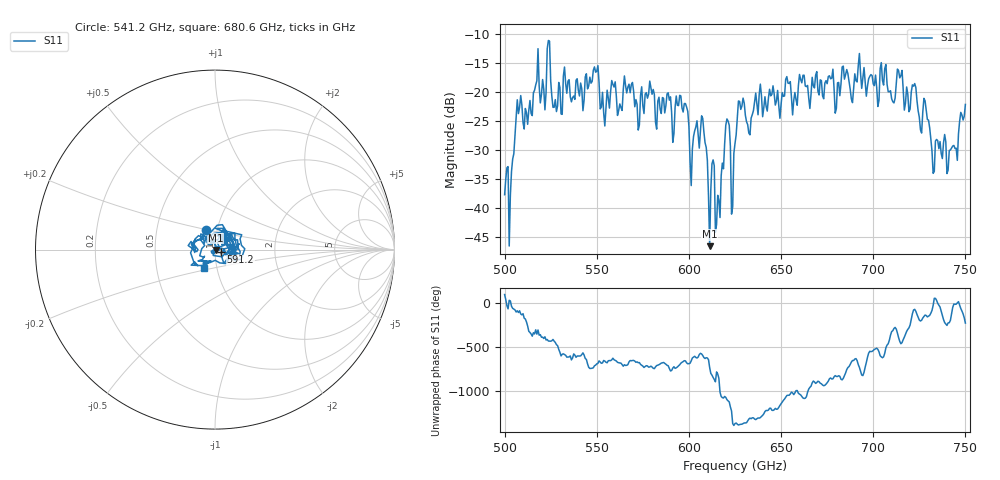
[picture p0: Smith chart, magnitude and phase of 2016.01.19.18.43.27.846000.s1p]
!Created with skrf (http://scikit-rf.org).
# GHz S RI R 50.0
!freq ReS11 ImS11
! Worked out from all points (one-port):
!   401 points, 500 GHz to 750 GHz, reference 50 ohm
!   lowest |S11| = -46.5 dB at 611.2 GHz (marker M1), VSWR 1.01, Z = 50.5 - j0.148 ohm
!   |S11| at or under -10 dB: start of sweep to end of sweep
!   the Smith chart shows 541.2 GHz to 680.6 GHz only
!   S11 on the Smith chart (normalised r, x): 541.2 GHz: 0.89, +0.20; 591.2 GHz: 1.07, -0.03; 680.6 GHz: 0.87, -0.18
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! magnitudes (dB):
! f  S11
! 500 GHz  -37.6
! 503.8 GHz  -33.6
! 508.1 GHz  -22.6
! 520.6 GHz  -17.8
! 523.8 GHz  -11.0
! 526.9 GHz  -22.6
! 531.2 GHz  -23.8
! 541.2 GHz  -18.4
! 549.4 GHz  -16.5
! 553.1 GHz  -20.0
! 562.5 GHz  -22.0
! 591.2 GHz  -28.6
! 593.8 GHz  -22.2
! 601.2 GHz  -36.1
! 607.5 GHz  -24.5
! 611.2 GHz  -46.5
! 615.6 GHz  -37.7
! 620.6 GHz  -24.6
! 623.8 GHz  -39.7
! 625 GHz  -28.8
! 628.1 GHz  -22.9
! 656.2 GHz  -23.9
! 680.6 GHz  -18.4
! 687.5 GHz  -19.4
! 714.4 GHz  -17.5
! 718.8 GHz  -20.3
! 741.2 GHz  -30.0
! 750 GHz  -22.1
